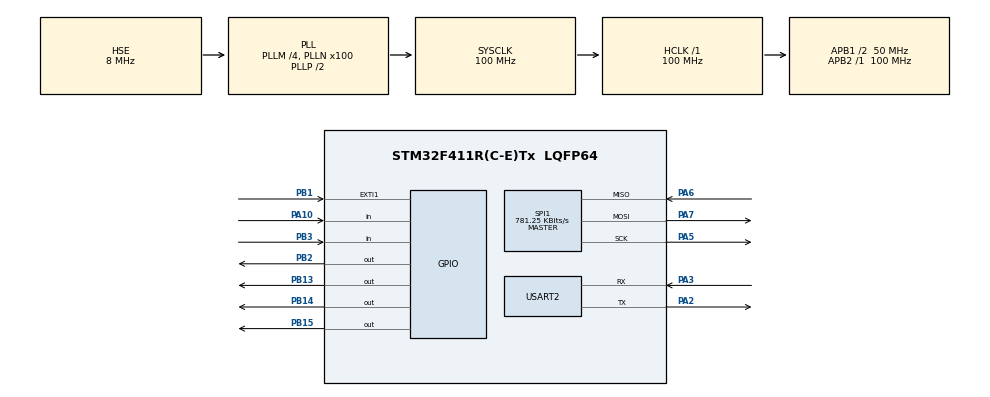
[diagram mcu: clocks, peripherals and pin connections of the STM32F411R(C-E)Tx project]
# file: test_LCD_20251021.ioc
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Mcu.Family=STM32F4
Mcu.Name=STM32F411R(C-E)Tx
Mcu.Package=LQFP64
NVIC.PriorityGroup=NVIC_PRIORITYGROUP_4
NVIC.USART2_IRQn=true\:0\:0\:false\:false\:true\:true\:true\:true
PA10.Signal=GPIO_Input
PA13.Mode=Serial_Wire
PA13.Signal=SYS_JTMS-SWDIO
PA14.Mode=Serial_Wire
PA14.Signal=SYS_JTCK-SWCLK
PA2.Mode=Asynchronous
PA2.Signal=USART2_TX
PA3.Mode=Asynchronous
PA3.Signal=USART2_RX
PA5.Mode=Full_Duplex_Master
PA5.Signal=SPI1_SCK
PA6.Mode=Full_Duplex_Master
PA6.Signal=SPI1_MISO
PA7.Mode=Full_Duplex_Master
PA7.Signal=SPI1_MOSI
PB1.Signal=GPXTI1
PB13.GPIO_Speed=GPIO_SPEED_FREQ_HIGH
PB13.Signal=GPIO_Output
PB14.GPIO_Speed=GPIO_SPEED_FREQ_HIGH
PB14.Signal=GPIO_Output
PB15.GPIO_Speed=GPIO_SPEED_FREQ_HIGH
PB15.Signal=GPIO_Output
PB2.GPIO_Speed=GPIO_SPEED_FREQ_HIGH
PB2.Signal=GPIO_Output
PB3.Signal=GPIO_Input
PH0\ -\ OSC_IN.Mode=HSE-External-Clock-Source
PH0\ -\ OSC_IN.Signal=RCC_OSC_IN
PH1\ -\ OSC_OUT.Mode=HSE-External-Clock-Source
PH1\ -\ OSC_OUT.Signal=RCC_OSC_OUT
ProjectManager.HeapSize=0x200
ProjectManager.StackSize=0x400
ProjectManager.TargetToolchain=STM32CubeIDE
RCC.48MHZClocksFreq_Value=50000000
RCC.AHBFreq_Value=100000000
RCC.APB1CLKDivider=RCC_HCLK_DIV2
RCC.APB1Freq_Value=50000000
RCC.APB1TimFreq_Value=100000000
RCC.APB2Freq_Value=100000000
RCC.APB2TimFreq_Value=100000000
RCC.CortexFreq_Value=100000000
RCC.HCLKFreq_Value=100000000
RCC.HSE_VALUE=8000000
RCC.HSI_VALUE=16000000
RCC.LSE_VALUE=32768
RCC.PLLM=4
RCC.PLLN=100
RCC.PLLSourceVirtual=RCC_PLLSOURCE_HSE
RCC.SYSCLKFreq_VALUE=100000000
RCC.SYSCLKSource=RCC_SYSCLKSOURCE_PLLCLK
RCC.VCOOutputFreq_Value=200000000
SPI1.BaudRatePrescaler=SPI_BAUDRATEPRESCALER_128
SPI1.CalculateBaudRate=781.25 KBits/s
SPI1.Direction=SPI_DIRECTION_2LINES
SPI1.Mode=SPI_MODE_MASTER
SPI1.VirtualType=VM_MASTER
USART2.VirtualMode=VM_ASYNC
board=custom

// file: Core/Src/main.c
/* USER CODE BEGIN Header */
/**
  ******************************************************************************
  * @file           : main.c
  * @brief          : Main program body
  ******************************************************************************
  * @attention
  *
  * Copyright (c) 2025 STMicroelectronics.
  * All rights reserved.
  *
  * This software is licensed under terms that can be found in the LICENSE file
  * in the root directory of this software component.
  * If no LICENSE file comes with this software, it is provided AS-IS.
  *
  ******************************************************************************
  */
/* USER CODE END Header */
#include "main.h"
#include "spi.h"
#include "usart.h"
#include "gpio.h"

/* USER CODE BEGIN Includes */

#include <stdarg.h>
#include "TFT-320x240.h"
#include "TFT-320x240_touch.h"
#include "fonts.h"

/* USER CODE END Includes */

void SystemClock_Config(void);
/* USER CODE BEGIN PFP */

void init()
{
  //TFT Unselect
  HAL_GPIO_WritePin(TFT_CS_GPIO_PORT, TFT_CS_PIN, GPIO_PIN_SET);
  // TFT Touch Unselect
  HAL_GPIO_WritePin(TFT_TOUCH_CS_GPIO_PORT, TFT_TOUCH_CS_PIN, GPIO_PIN_SET);

  TFT_Init();
}

/* USER CODE END PFP */

int main(void)
{

  /* MCU Configuration--------------------------------------------------------*/

  /* Reset of all peripherals, Initializes the Flash interface and the Systick. */
  HAL_Init();

  /* Configure the system clock */
  SystemClock_Config();

  /* Initialize all configured peripherals */
  MX_GPIO_Init();
  MX_SPI1_Init();
  MX_USART2_UART_Init();
  /* USER CODE BEGIN 2 */

  // LCD 초기화
  init();

  // LCD 색상 표현
  TFT_FillScreen(TFT_RED);
  HAL_Delay(1000);
//  TFT_FillScreen(TFT_BLUE);
//  HAL_Delay(1000);
//  TFT_FillScreen(TFT_COLOR565(244,100,159));
//  HAL_Delay(1000);
  TFT_FillScreen(TFT_WHITE);
  HAL_Delay(1000);

  /* USER CODE END 2 */

  /* Infinite loop */
  /* USER CODE BEGIN WHILE */
  while (1)
  {

    // 터치 입력
    uint16_t x,y;

    // 터치 입력 처리
    if (TFT_TouchGetCoordinates(&x, &y))
    {
      uint16_t lcd_x = 320 - y;
      uint16_t lcd_y = 240 - x;
      TFT_FillRectangle(lcd_x, lcd_y, 4, 4, TFT_BLACK);

      if (lcd_x < 240 && lcd_y < 320)
      {
        uint8_t bx = (lcd_x * IMG_W) / 240;
        uint8_t by = (lcd_y * IMG_H) / 320;
        img_buffer[by][bx] = 255;
      }
    }

    // 버튼1 (예: PB3) → 버퍼 출력
    if (HAL_GPIO_ReadPin(GPIOB, GPIO_PIN_3) == GPIO_PIN_RESET) {
      Debug_PrintBuffer();
      HAL_Delay(500); // 디바운스
    }

    // 버튼2 (예: PA10) → LCD & 버퍼 초기화
    if (HAL_GPIO_ReadPin(GPIOA, GPIO_PIN_10) == GPIO_PIN_RESET) {
      TFT_FillScreen(TFT_WHITE);  // LCD 초기화
      Clear_ImageBuffer();        // 버퍼 초기화
      HAL_Delay(500);             // 디바운스
    }

    /* USER CODE END WHILE */

  }
}

void SystemClock_Config(void)
{
  RCC_OscInitTypeDef RCC_OscInitStruct = {0};
  RCC_ClkInitTypeDef RCC_ClkInitStruct = {0};

  /** Configure the main internal regulator output voltage
  */
  __HAL_RCC_PWR_CLK_ENABLE();
  __HAL_PWR_VOLTAGESCALING_CONFIG(PWR_REGULATOR_VOLTAGE_SCALE1);

  /** Initializes the RCC Oscillators according to the specified parameters
  * in the RCC_OscInitTypeDef structure.
  */
  RCC_OscInitStruct.OscillatorType = RCC_OSCILLATORTYPE_HSE;
  RCC_OscInitStruct.HSEState = RCC_HSE_BYPASS;
  RCC_OscInitStruct.PLL.PLLState = RCC_PLL_ON;
  RCC_OscInitStruct.PLL.PLLSource = RCC_PLLSOURCE_HSE;
  RCC_OscInitStruct.PLL.PLLM = 4;
  RCC_OscInitStruct.PLL.PLLN = 100;
  RCC_OscInitStruct.PLL.PLLP = RCC_PLLP_DIV2;
  RCC_OscInitStruct.PLL.PLLQ = 4;
  if (HAL_RCC_OscConfig(&RCC_OscInitStruct) != HAL_OK)
  {
    Error_Handler();
  }

  /** Initializes the CPU, AHB and APB buses clocks
  */
  RCC_ClkInitStruct.ClockType = RCC_CLOCKTYPE_HCLK|RCC_CLOCKTYPE_SYSCLK
                              |RCC_CLOCKTYPE_PCLK1|RCC_CLOCKTYPE_PCLK2;
  RCC_ClkInitStruct.SYSCLKSource = RCC_SYSCLKSOURCE_PLLCLK;
  RCC_ClkInitStruct.AHBCLKDivider = RCC_SYSCLK_DIV1;
  RCC_ClkInitStruct.APB1CLKDivider = RCC_HCLK_DIV2;
  RCC_ClkInitStruct.APB2CLKDivider = RCC_HCLK_DIV1;

  if (HAL_RCC_ClockConfig(&RCC_ClkInitStruct, FLASH_LATENCY_3) != HAL_OK)
  {
    Error_Handler();
  }
}

void Error_Handler(void)
{
  __disable_irq();
  while (1)
  {
  }
}
